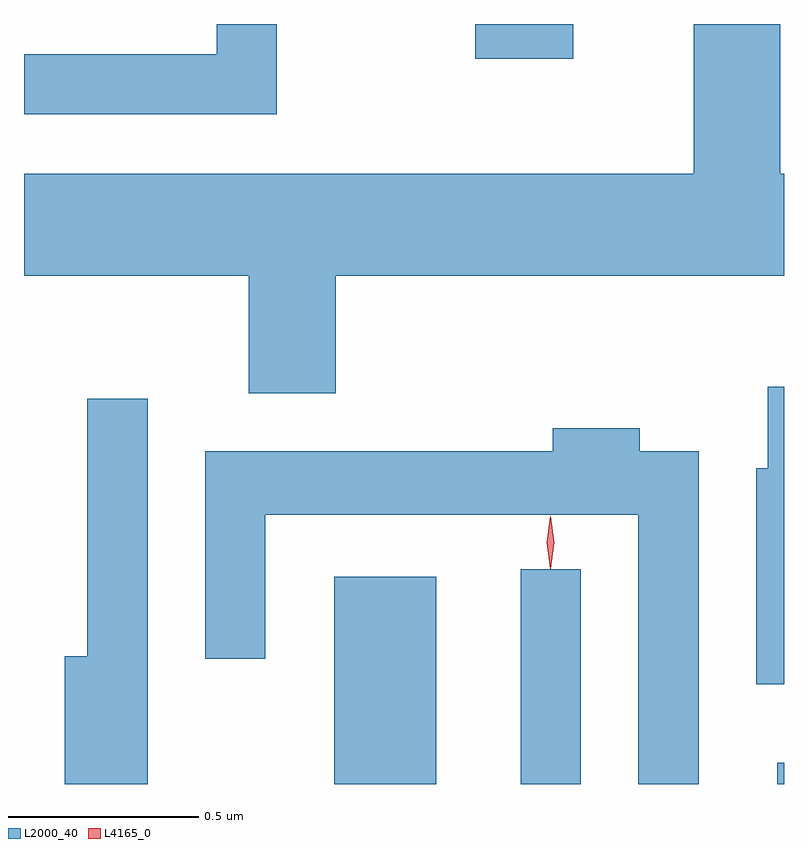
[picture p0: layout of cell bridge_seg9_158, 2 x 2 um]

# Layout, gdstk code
import gdstk
lib = gdstk.Library(unit=1e-6, precision=1e-09)
def R(c, l, rs):  # rectangles x0, y0, x1, y1
    for r in rs: c.add(gdstk.rectangle(r[:2], r[2:], *l))
def P(c, l, *ps):  # polygons
    for p in ps: c.add(gdstk.Polygon(p, *l))
L2000_40 = (2000, 40)
L4165_0 = (4165, 0)

bridge_seg9_158 = lib.new_cell('bridge_seg9_158')
R(bridge_seg9_158, L2000_40, [(1435.526,2065.958,1435.794,2066.504), (1436.016,2065.958,1436.174,2066.523), (1436.691,2065.958,1436.709,2066.014), (1435.896,2067.866,1436.154,2067.958)])
P(bridge_seg9_158, L2000_40, [(1435.529,2067.296),(1436.709,2067.296),(1436.709,2067.564),(1436.699,2067.564),(1436.699,2067.958),(1436.471,2067.958),(1436.471,2067.564),(1434.709,2067.564),(1434.709,2067.296),(1435.301,2067.296),(1435.301,2066.986),(1435.529,2066.986)],
  [(1435.374,2067.958),(1435.216,2067.958),(1435.216,2067.879),(1434.709,2067.879),(1434.709,2067.721),(1435.374,2067.721)],
  [(1436.709,2067.004),(1436.666,2067.004),(1436.666,2066.789),(1436.636,2066.789),(1436.636,2066.221),(1436.709,2066.221)],
  [(1435.034,2066.972),(1434.876,2066.972),(1434.876,2066.294),(1434.816,2066.294),(1434.816,2065.958),(1435.034,2065.958)],
  [(1436.484,2066.834),(1436.329,2066.834),(1436.329,2066.894),(1436.101,2066.894),(1436.101,2066.834),(1435.186,2066.834),(1435.186,2066.288),(1435.344,2066.288),(1435.344,2066.666),(1436.326,2066.666),(1436.326,2065.958),(1436.484,2065.958)])
P(bridge_seg9_158, L4165_0, [(1436.094,2066.524),(1436.085,2066.593),(1436.094,2066.662),(1436.095,2066.663),(1436.095,2066.662),(1436.105,2066.593),(1436.095,2066.524),(1436.095,2066.524)],
  [(1436.094,2066.527),(1436.094,2066.528),(1436.084,2066.594),(1436.094,2066.66),(1436.094,2066.66),(1436.095,2066.66),(1436.104,2066.594),(1436.095,2066.528)])

lib.write_gds('bridge_seg9_158.gds')
